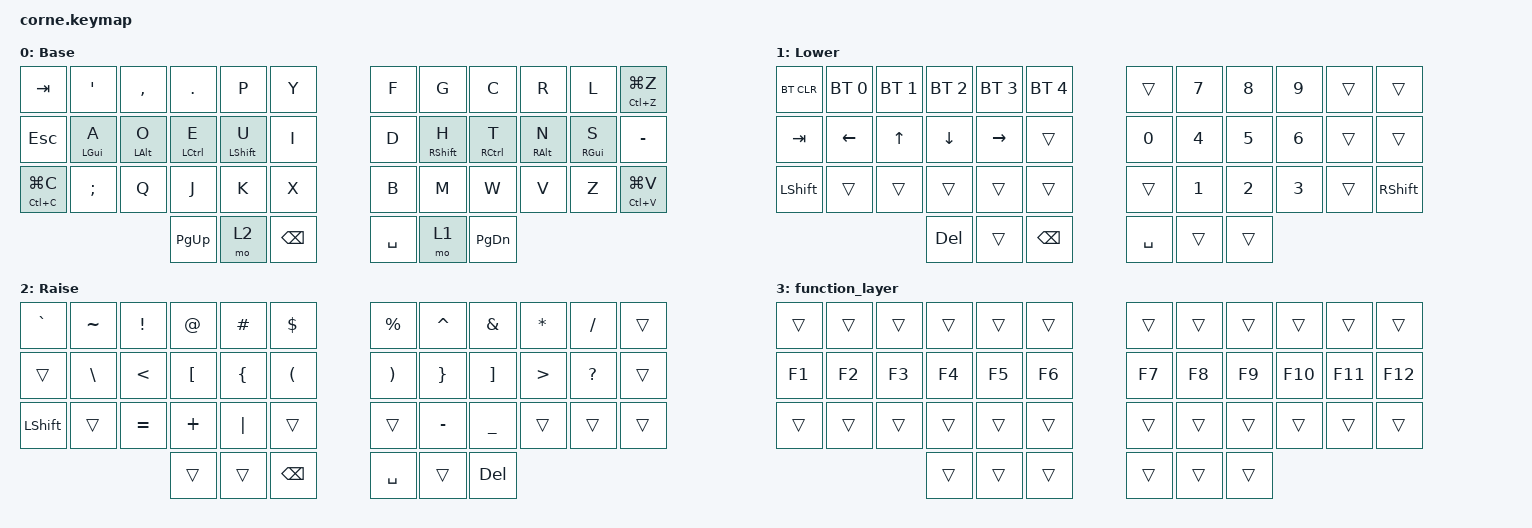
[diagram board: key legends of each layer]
/*
 * Copyright (c) 2020 The ZMK Contributors
 *
 * SPDX-License-Identifier: MIT
 */

#include <behaviors.dtsi>
#include <dt-bindings/zmk/bt.h>
#include <dt-bindings/zmk/keys.h>

/ {
    combos {
        compatible = "zmk,combos";

        enter {
            bindings = <&kp ENTER>;
            key-positions = <19 20 21>;
        };

        function_layer {
            bindings = <&mo 3>;
            key-positions = <37 40>;
        };
    };

    behaviors {
        HMR: HMR {
            compatible = "zmk,behavior-hold-tap";
            label = "HMR";
            bindings = <&kp>, <&kp>;

            #binding-cells = <2>;
            tapping-term-ms = <280>;
            quick-tap-ms = <175>;
            flavor = "tap-preferred";
            hold-trigger-key-positions = <0 1 2 3 4 5 12 13 14 15 16 17 24 25 26 27 28 29 36 37 38 39 40 41>;
            hold-trigger-on-release;
        };

        HML: HML {
            compatible = "zmk,behavior-hold-tap";
            label = "HML";
            bindings = <&kp>, <&kp>;

            #binding-cells = <2>;
            hold-trigger-key-positions = <36 37 38 6 7 8 9 10 11 18 19 20 21 22 23 30 31 32 33 34 35 39 40 41>;
            tapping-term-ms = <280>;
            quick-tap-ms = <175>;
            flavor = "tap-preferred";
            hold-trigger-on-release;
        };
    };

    keymap {
        compatible = "zmk,keymap";

        dvorak_layer {
            // -----------------------------------------------------------------------------------------
            // |  TAB |  Q  |  W  |  E  |  R  |  T  |   |  Y  |  U   |  I  |  O  |  P  | BKSP |
            // | CTRL |  A  |  S  |  D  |  F  |  G  |   |  H  |  J   |  K  |  L  |  ;  |  '   |
            // | SHFT |  Z  |  X  |  C  |  V  |  B  |   |  N  |  M   |  ,  |  .  |  /  | ESC  |
            //                    | GUI | LWR | SPC |   | ENT | RSE  | ALT |

            display-name = "Base";
            bindings = <
&kp TAB           &kp APOS         &kp COMMA        &kp DOT       &kp P              &kp Y            &kp F      &kp G               &kp C          &kp R             &kp L             &HMR LC(Z) LG(Z)
&kp ESC           &HML LEFT_GUI A  &HML LEFT_ALT O  &HML LCTRL E  &HML LEFT_SHIFT U  &kp I            &kp D      &HMR RIGHT_SHIFT H  &HMR RCTRL T   &HMR RIGHT_ALT N  &HMR RIGHT_GUI S  &kp MINUS
&HML LC(C) LG(C)  &kp SEMI         &kp Q            &kp J         &kp K              &kp X            &kp B      &kp M               &kp W          &kp V             &kp Z             &HMR LC(V) LG(V)
                                                    &kp PAGE_UP   &mo 2              &kp BACKSPACE    &kp SPACE  &mo 1               &kp PAGE_DOWN
            >;
        };

        BT_arrow_num_layer {
            // -----------------------------------------------------------------------------------------
            // |  TAB |  1  |  2  |  3  |  4  |  5  |   |  6  |  7  |  8  |  9  |  0  | BKSP |
            // | BTCLR| BT1 | BT2 | BT3 | BT4 | BT5 |   | LFT | DWN |  UP | RGT |     |      |
            // | SHFT |     |     |     |     |     |   |     |     |     |     |     |      |
            //                    | GUI |     | SPC |   | ENT |     | ALT |

            display-name = "Lower";
            bindings = <
&bt BT_CLR  &bt BT_SEL 0    &bt BT_SEL 1  &bt BT_SEL 2    &bt BT_SEL 3  &bt BT_SEL 4     &trans     &kp N7  &kp N8  &kp N9  &trans  &trans
&kp TAB     &kp LEFT_ARROW  &kp UP_ARROW  &kp DOWN_ARROW  &kp RIGHT     &trans           &kp N0     &kp N4  &kp N5  &kp N6  &trans  &trans
&kp LSHFT   &trans          &trans        &trans          &trans        &trans           &trans     &kp N1  &kp N2  &kp N3  &trans  &kp RSHFT
                                          &kp DEL         &trans        &kp BACKSPACE    &kp SPACE  &trans  &trans
            >;
        };

        symbols_layer {
            // -----------------------------------------------------------------------------------------
            // |  TAB |  !  |  @  |  #  |  $  |  %  |   |  ^  |  &  |  *  |  (  |  )  | BKSP |
            // | CTRL |     |     |     |     |     |   |  -  |  =  |  [  |  ]  |  \  |  `   |
            // | SHFT |     |     |     |     |     |   |  _  |  +  |  {  |  }  | "|" |  ~   |
            //                    | GUI |     | SPC |   | ENT |     | ALT |

            display-name = "Raise";
            bindings = <
&kp GRAVE  &kp TILDE      &kp EXCLAMATION  &kp AT_SIGN       &kp HASH        &kp DOLLAR              &kp PERCENT            &kp CARET        &kp AMPERSAND      &kp ASTERISK      &kp SLASH     &trans
&trans     &kp BACKSLASH  &kp LESS_THAN    &kp LEFT_BRACKET  &kp LEFT_BRACE  &kp LEFT_PARENTHESIS    &kp RIGHT_PARENTHESIS  &kp RIGHT_BRACE  &kp RIGHT_BRACKET  &kp GREATER_THAN  &kp QUESTION  &trans
&kp LSHFT  &trans         &kp EQUAL        &kp PLUS          &kp PIPE        &trans                  &trans                 &kp MINUS        &kp UNDERSCORE     &trans            &trans        &trans
                                           &trans            &trans          &kp BACKSPACE           &kp SPACE              &trans           &kp DEL
            >;
        };

        function_layer {
            bindings = <
&trans  &trans  &trans  &trans  &trans  &trans    &trans  &trans  &trans  &trans   &trans   &trans
&kp F1  &kp F2  &kp F3  &kp F4  &kp F5  &kp F6    &kp F7  &kp F8  &kp F9  &kp F10  &kp F11  &kp F12
&trans  &trans  &trans  &trans  &trans  &trans    &trans  &trans  &trans  &trans   &trans   &trans
                        &trans  &trans  &trans    &trans  &trans  &trans
            >;
        };
    };
};
